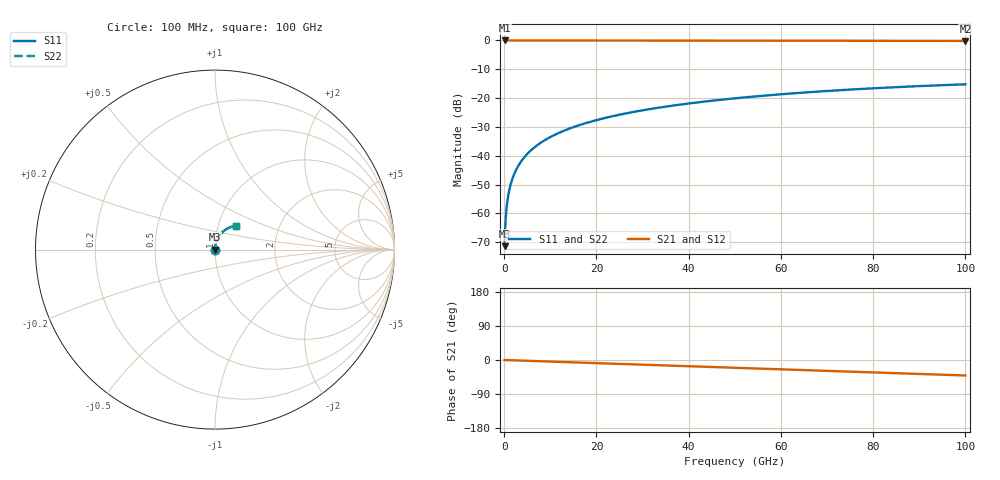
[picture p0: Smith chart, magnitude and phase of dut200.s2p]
! Touchstone file exported from HFSS 2026.1.0
!  File:  C:/ffzhzh/LocalFiles/Ansys_Project_Files/temp_train_TSV_200_1783507470_9504.aedt
!  Generated:  06:45:49 PM Jul  8, 2026
!  Design:  TSV
!  Project:  temp_train_TSV_200_1783507470_9504
! Variables:
!  h_bsmrdl = 2um
!  h_ox = 20um
!  h_rdl = 5um
!  h_sub = 74.08um
!  h_tmrdl = 5um
!  h_tsv = 74.08um
!  h_via = 3um
!  l_bsmrdl = 300um
!  l_sub = 420.42um
!  l_tmrdl = 200um
!  m_sub = 200um
!  pitch = 58.43um
!  r_tsv = 10.21um
!  s_tmrdl = 10um
!  w_bsmrdl = 18um
!  w_sub = 500um
!  w_tmrdl = 12um
!  x_tsv_center1 = 206um
!  x_tsv_center2 = 524um
!  x_tsv_center3 = 736um
!  x_tsv_center4 = 1054um
!  x_tsv_center5 = 1266um
!  x_tsv_center6 = 1584um
# GHz S MA R 50.000000
! Terminal data exported
! Port[1] = TSV1_1_T1
! Port[2] = TSV1_1_T2
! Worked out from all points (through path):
!   1000 points, 100 MHz to 100 GHz, reference 50 ohm
!   highest |S21| = 0.00 dB at 100 MHz (marker M1); lowest = -0.2 dB at 100 GHz (marker M2)
!   group delay of S21, straight-line fit = 1.13 ps
!   lowest |S11| = -71.3 dB at 100 MHz (marker M3), VSWR 1.00, Z = 50 + j0.0246 ohm
!   |S11| at or under -10 dB: start of sweep to end of sweep
!   |S22| runs from -71.3 to -15.2 dB; largest |S21 - S12| = 4.1e-15
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0.1  0.0002707 65.2  0.9999 -0.0  0.9999 -0.0  0.0002707 65.2
! Gamma 0 0 0 0
! Port Impedance 50 0 50 0
0.3  0.0007401 79.0  0.9999 -0.1  0.9999 -0.1  0.0007401 79.0
0.7  0.001645 82.3  0.9998 -0.3  0.9998 -0.3  0.001645 82.3
0.8  0.001864 82.6  0.9998 -0.3  0.9998 -0.3  0.001864 82.6
1  0.002298 83.2  0.9997 -0.4  0.9997 -0.4  0.002298 83.2
1.3  0.002944 83.8  0.9997 -0.6  0.9997 -0.6  0.002944 83.8
1.7  0.003801 84.3  0.9997 -0.7  0.9997 -0.7  0.003801 84.3
2.3  0.005078 84.7  0.9996 -1.0  0.9996 -1.0  0.005078 84.7
3  0.006558 84.9  0.9995 -1.3  0.9995 -1.3  0.006558 84.9
3.8  0.008239 85.0  0.9995 -1.6  0.9995 -1.6  0.008239 85.0
4.8  0.01033 84.9  0.9994 -2.0  0.9994 -2.0  0.01033 84.9
6  0.01283 84.7  0.9993 -2.5  0.9993 -2.5  0.01283 84.7
8.8  0.01863 84.0  0.9991 -3.7  0.9991 -3.7  0.01863 84.0
12.4  0.02604 82.9  0.9988 -5.1  0.9988 -5.1  0.02604 82.9
16.8  0.03502 81.3  0.9983 -7.0  0.9983 -7.0  0.03502 81.3
24.2  0.04993 78.6  0.9975 -10.0  0.9975 -10.0  0.04993 78.5
33.4  0.06804 75.0  0.9962 -13.8  0.9962 -13.8  0.06804 75.0
41.2  0.08294 71.9  0.9949 -17.0  0.9949 -17.0  0.08294 71.9
50.1  0.09931 68.4  0.9932 -20.6  0.9932 -20.6  0.09931 68.4
66.7  0.1277 61.8  0.9897 -27.4  0.9897 -27.4  0.1277 61.7
83.4  0.1528 55.1  0.9859 -34.1  0.9859 -34.1  0.1528 55.1
100  0.1735 48.5  0.9821 -40.9  0.9821 -40.9  0.1735 48.5
